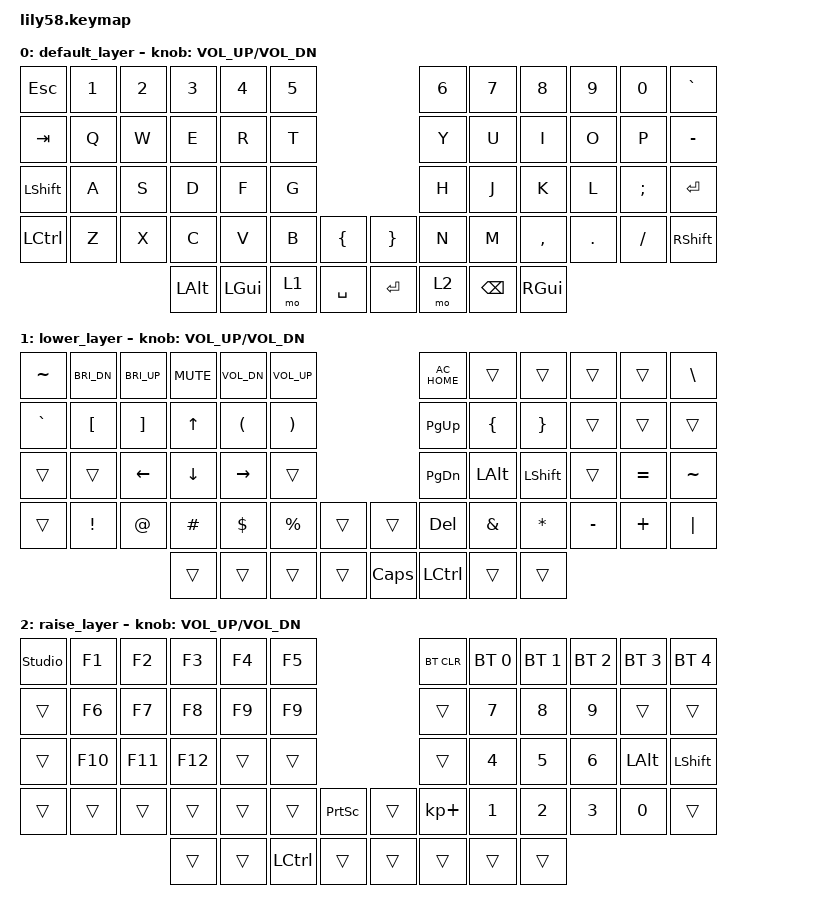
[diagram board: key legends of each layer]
/*
 * Copyright (c) 2020 The ZMK Contributors
 *
 * SPDX-License-Identifier: MIT
 */

#include <behaviors.dtsi>
#include <dt-bindings/zmk/bt.h>
#include <dt-bindings/zmk/keys.h>

/ {
    keymap {
        compatible = "zmk,keymap";

        default_layer {
            // ------------------------------------------------------------------------------------------------------------
            // |  ESC  |  1  |  2  |  3   |  4   |  5   |                   |  6   |  7    |  8    |  9   |   0   |   `   |
            // |  TAB  |  Q  |  W  |  E   |  R   |  T   |                   |  Y   |  U    |  I    |  O   |   P   |   -   |
            // |  CTRL |  A  |  S  |  D   |  F   |  G   |                   |  H   |  J    |  K    |  L   |   ;   |   '   |
            // | SHIFT |  Z  |  X  |  C   |  V   |  B   |   "["  |  |  "]"  |  N   |  M    |  ,    |  .   |   /   | SHIFT |
            //                     | ALT  | GUI  | LOWER|  SPACE |  | ENTER | RAISE| BSPC  | GUI   |

            bindings = <
&kp ESC           &kp NUMBER_1  &kp NUMBER_2  &kp NUMBER_3  &kp NUMBER_4  &kp N5                                     &kp NUMBER_6  &kp N7    &kp N8     &kp N9   &kp N0    &kp GRAVE
&kp TAB           &kp Q         &kp W         &kp E         &kp R         &kp T                                      &kp Y         &kp U     &kp I      &kp O    &kp P     &kp MINUS
&kp LEFT_SHIFT    &kp A         &kp S         &kp D         &kp F         &kp G                                      &kp H         &kp J     &kp K      &kp L    &kp SEMI  &kp ENTER
&kp LEFT_CONTROL  &kp Z         &kp X         &kp C         &kp V         &kp B   &kp LEFT_BRACE    &kp RIGHT_BRACE  &kp N         &kp M     &kp COMMA  &kp DOT  &kp FSLH  &kp RSHFT
                                              &kp LALT      &kp LGUI      &mo 1   &kp SPACE         &kp RET          &mo 2         &kp BSPC  &kp RGUI
            >;

            sensor-bindings = <&inc_dec_kp C_VOL_UP C_VOL_DN>;
        };

        lower_layer {
            // --------------------------------------------------------------------------------------------------------------
            // | LPAD  | BRDn | BRUp |  MUT |  Vo- |  Vo+ |                   |      |       |       |      |       |       |
            // |  F1   |  F2  |  F3  |  F4  |  F5  |  F6  |                   |  F7  |  F8   |  F9   |  F10 |  F11  |  F12  |
            // |   `   |  !   |  @   |  #   |  $   |  %   |                   |  ^   |  &    |  *    |  (   |   )   |   ~   |
            // |       |      |      |      |      |      |        |  |       |      |  _    |  +    |  {   |   }   |  "|"  |
            //                       |      |      |      |        |  |       |      |       |       |

            bindings = <
&kp TILDE  &kp C_BRI_DN      &kp C_BRI_UP       &kp C_MUTE      &kp C_VOL_DN          &kp C_VOL_UP                                   &kp C_AC_HOME     &trans          &trans           &trans     &trans     &kp BACKSLASH
&kp GRAVE  &kp LEFT_BRACKET  &kp RIGHT_BRACKET  &kp UP_ARROW    &kp LEFT_PARENTHESIS  &kp RIGHT_PARENTHESIS                          &kp PAGE_UP       &kp LEFT_BRACE  &kp RIGHT_BRACE  &trans     &trans     &trans
&trans     &trans            &kp LEFT_ARROW     &kp DOWN_ARROW  &kp RIGHT_ARROW       &trans                                         &kp PAGE_DOWN     &kp LEFT_ALT    &kp LSHIFT       &trans     &kp EQUAL  &kp TILDE
&trans     &kp EXCLAMATION   &kp AT_SIGN        &kp HASH        &kp DOLLAR            &kp PRCNT              &trans    &trans        &kp DEL           &kp AMPERSAND   &kp ASTERISK     &kp MINUS  &kp PLUS   &kp PIPE
                                                &trans          &trans                &trans                 &trans    &kp CAPSLOCK  &kp LEFT_CONTROL  &trans          &trans
            >;

            sensor-bindings = <&inc_dec_kp C_VOL_UP C_VOL_DN>;
        };

        raise_layer {
            // ------------------------------------------------------------------------------------------------------------
            // |       |     |     |      |      |      |                   |      |       |       |      |       |       |
            // |   `   |  1  |  2  |  3   |  4   |  5   |                   |  6   |   7   |   8   |  9   |   0   |       |
            // |   F1  |  F2 |  F3 |  F4  |  F5  |  F6  |                   |      |   <-  |   v   |  ^   |  ->   |       |
            // |   F7  |  F8 |  F9 |  F10 |  F11 |  F12 |        |  |       |  +   |   -   |   =   |  [   |   ]   |   \   |
            //                     |      |      |      |        |  |       |      |       |       |

            bindings = <
&studio_unlock  &kp F1   &kp F2   &kp F3   &kp F4  &kp F5                                       &bt BT_CLR   &bt BT_SEL 0  &bt BT_SEL 1  &bt BT_SEL 2  &bt BT_SEL 3  &bt BT_SEL 4
&trans          &kp F6   &kp F7   &kp F8   &kp F9  &kp F9                                       &trans       &kp N7        &kp N8        &kp N9        &trans        &trans
&trans          &kp F10  &kp F11  &kp F12  &trans  &trans                                       &trans       &kp NUMBER_4  &kp N5        &kp NUMBER_6  &kp LEFT_ALT  &kp LEFT_SHIFT
&trans          &trans   &trans   &trans   &trans  &trans            &kp PRINTSCREEN    &trans  &kp KP_PLUS  &kp NUMBER_1  &kp NUMBER_2  &kp NUMBER_3  &kp N0        &trans
                                  &trans   &trans  &kp LEFT_CONTROL  &trans             &trans  &trans       &trans        &trans
            >;

            sensor-bindings = <&inc_dec_kp C_VOL_UP C_VOL_DN>;
        };
    };
};
